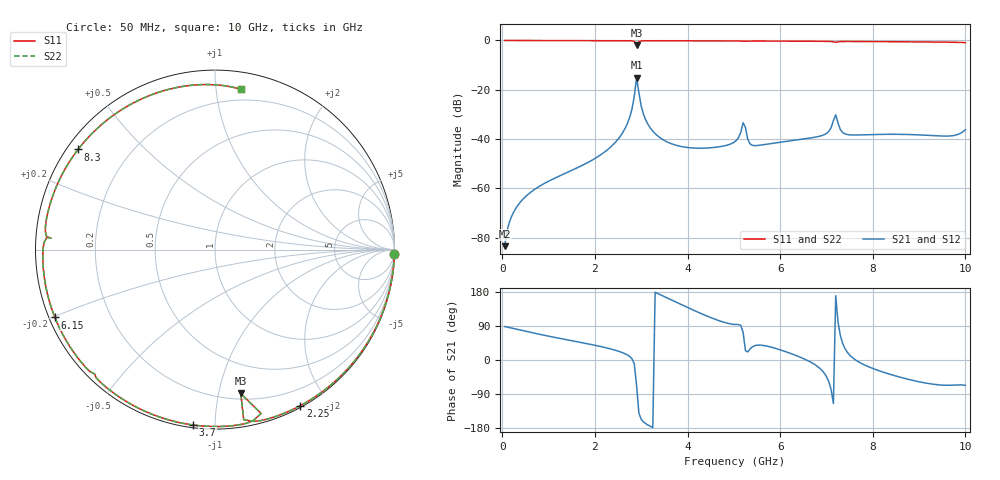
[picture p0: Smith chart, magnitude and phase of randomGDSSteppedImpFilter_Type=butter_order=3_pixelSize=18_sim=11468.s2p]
! freq	dB(S11)	phase(S11)	dB(S12)	phase(S12)
!  dB(S21)	phase(S21)	dB(S22)	phase(S22)
!S-par simulation data
#  GHz  S  DB  R 50
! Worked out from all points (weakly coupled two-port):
!   200 points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, 50 MHz to 10 GHz, reference 50 ohm
!   highest |S21| = -15.08 dB at 2.9 GHz (marker M1); lowest = -83.4 dB at 50 MHz (marker M2)
!   lowest |S11| = -1.8 dB at 2.9 GHz (marker M3), VSWR 9.77, Z = 12.2 - j58.2 ohm
!   |S11| at or under -10 dB: nowhere
!   |S22| runs from -1.8 to 0.0 dB; largest |S21 - S12| = 0
!   S11 on the Smith chart (normalised r, x): 50 MHz: 0, -81; 2.25 GHz: 0.02, -1.69; 3.7 GHz: 0.01, -0.88; 6.15 GHz: 0.02, -0.20; 8.3 GHz: 0.03, +0.33; 10 GHz: 0.12, +1.17
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0.05  -0.00 -1.4  -83.38 88.4  -83.38 88.4  -0.00 -1.4
0.25  -0.01 -7.0  -69.40 82.9  -69.40 82.9  -0.01 -7.0
0.5  -0.02 -13.9  -63.33 76.1  -63.33 76.1  -0.02 -13.9
1.75  -0.06 -48.0  -50.41 45.0  -50.41 45.0  -0.06 -48.0
2.25  -0.08 -61.3  -44.63 32.0  -44.63 32.0  -0.08 -61.3
2.7  -0.11 -73.8  -33.72 13.5  -33.72 13.5  -0.11 -73.7
2.8  -0.17 -77.4  -27.83 3.3  -27.83 3.3  -0.17 -77.4
2.9  -1.78 -79.9  -15.08 -67.4  -15.08 -67.4  -1.77 -79.8
3.05  -0.15 -79.6  -29.98 -163.6  -29.98 -163.6  -0.15 -79.6
3.4  -0.12 -89.6  -39.34 172.9  -39.34 172.9  -0.12 -89.6
3.7  -0.13 -97.2  -42.17 155.8  -42.17 155.8  -0.13 -97.2
5.05  -0.21 -130.3  -40.60 93.6  -40.60 93.6  -0.21 -130.3
5.2  -0.32 -134.1  -33.34 73.0  -33.34 73.0  -0.32 -134.1
5.4  -0.22 -138.4  -42.49 34.7  -42.49 34.7  -0.22 -138.4
6.15  -0.27 -157.0  -40.85 20.7  -40.85 20.7  -0.27 -157.0
6.7  -0.32 -171.2  -39.39 -8.4  -39.39 -8.4  -0.32 -171.1
7.05  -0.38 179.1  -36.86 -57.0  -36.86 -57.0  -0.38 179.1
7.2  -0.76 176.0  -30.13 169.7  -30.13 169.7  -0.76 176.0
7.4  -0.41 170.8  -37.88 30.2  -37.88 30.2  -0.41 170.8
8.3  -0.49 143.8  -38.04 -35.0  -38.04 -35.0  -0.49 143.9
8.35  -0.50 142.2  -38.03 -36.9  -38.03 -36.9  -0.50 142.3
10  -0.87 80.6  -36.17 -67.0  -36.17 -67.0  -0.86 80.9
